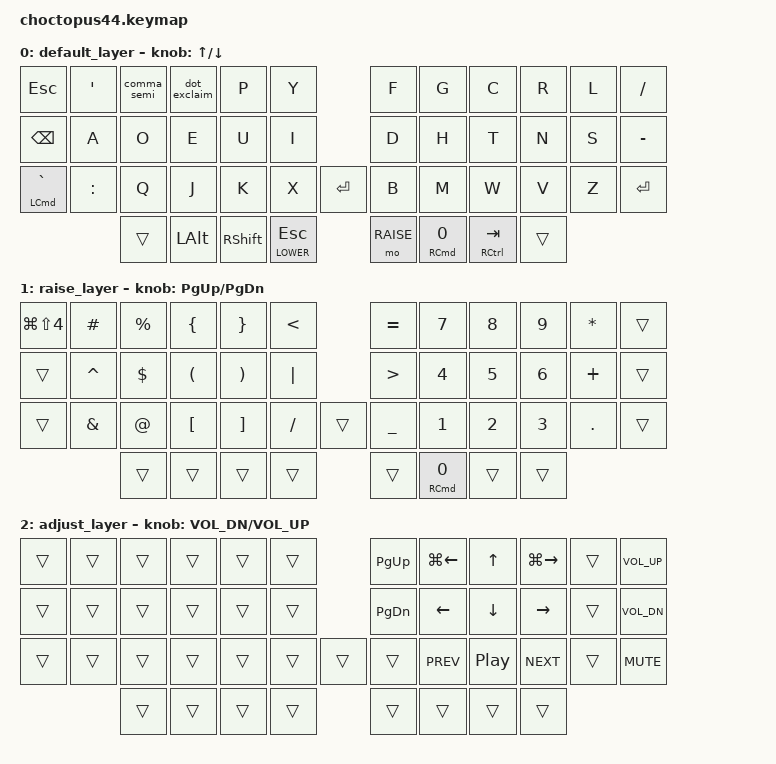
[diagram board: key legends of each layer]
/*
 * Copyright (c) 2021 The ZMK Contributors
 *
 * SPDX-License-Identifier: MIT
 */

#include <behaviors.dtsi>
#include <dt-bindings/zmk/keys.h>
#include <dt-bindings/zmk/bt.h>
#include <dt-bindings/zmk/rgb.h>

&mt {
    tapping-term-ms = <400>;
};

#define DEFAULT 0
#define RAISE 1
#define LOWER 2

/ {
  behaviors {
    comma_semi: comma_semi {
      compatible = "zmk,behavior-mod-morph";
      #binding-cells = <0>;
      bindings = <&kp COMMA>, <&kp SEMICOLON>;
      mods = <(MOD_LSFT|MOD_RSFT)>;
    };
    dot_exclaim: dot_exclaim {
      compatible = "zmk,behavior-mod-morph";
      #binding-cells = <0>;
      bindings = <&kp DOT>, <&kp EXCLAMATION>;
      mods = <(MOD_LSFT|MOD_RSFT)>;
    };
  };
  keymap {
    compatible = "zmk,keymap";


    default_layer {
      bindings = <
        &kp ESC         &kp SQT   &comma_semi   &dot_exclaim  &kp P         &kp Y                 &kp F     &kp G       &kp C         &kp R   &kp L  &kp FSLH
        &kp BSPC        &kp A     &kp O         &kp E         &kp U         &kp I                 &kp D     &kp H       &kp T         &kp N   &kp S  &kp MINUS
        &mt LCMD GRAVE  &kp COLON &kp Q         &kp J         &kp K         &kp X     &kp RET     &kp B     &kp M       &kp W         &kp V   &kp Z  &kp RET
                                  &trans        &kp LALT      &kp RSHFT     &lt LOWER ESC         &mo RAISE &mt RCMD N0 &mt RCTRL TAB &trans
      >;
      sensor-bindings = <&inc_dec_kp UP DOWN>;
    };

    raise_layer {
      bindings = <
        &kp LG(LS(N4))  &kp HASH  &kp PRCNT   &kp LBRC &kp RBRC &kp LT                &kp EQUAL       &kp N7      &kp N8 &kp N9  &kp ASTRK &trans
        &trans          &kp CARET &kp DOLLAR  &kp LPAR &kp RPAR &kp PIPE              &kp GT          &kp N4      &kp N5 &kp N6  &kp PLUS  &trans
        &trans          &kp AMPS  &kp AT      &kp LBKT &kp RBKT &kp SLASH   &trans    &kp UNDERSCORE  &kp N1      &kp N2 &kp N3  &kp DOT   &trans
                                  &trans      &trans   &trans   &trans                &trans          &mt RCMD N0 &trans &trans
      >;
      sensor-bindings = <&inc_dec_kp PG_UP PG_DN>;
    };

    adjust_layer {
      bindings = <
        &trans &trans &trans &trans &trans &trans           &kp PG_UP   &kp LG(LEFT)  &kp UP    &kp LG(RIGHT) &trans &kp C_VOL_UP
        &trans &trans &trans &trans &trans &trans           &kp PG_DN   &kp LEFT      &kp DOWN  &kp RIGHT     &trans &kp C_VOL_DN
        &trans &trans &trans &trans &trans &trans  &trans   &trans      &kp C_PREV    &kp C_PP  &kp C_NEXT    &trans &kp C_MUTE
                      &trans &trans &trans &trans           &trans      &trans        &trans    &trans
      >;
      sensor-bindings = <&inc_dec_kp C_VOL_DN C_VOL_UP>;
    };

  };
};
